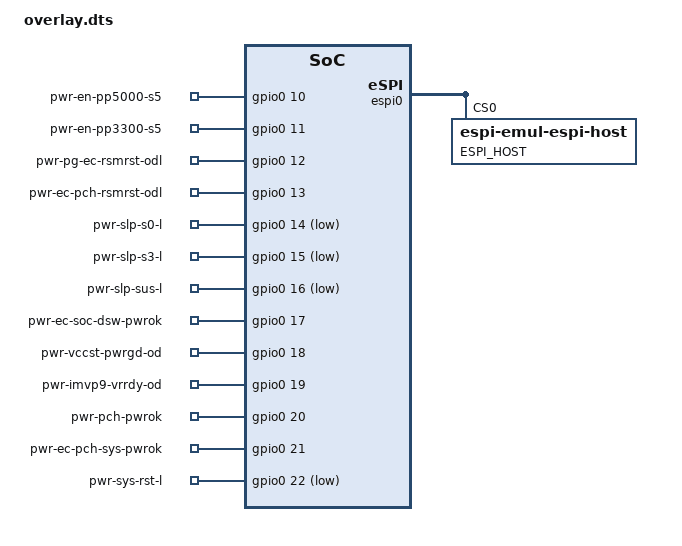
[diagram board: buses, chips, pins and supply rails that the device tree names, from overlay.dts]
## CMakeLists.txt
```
# Copyright 2021 The ChromiumOS Authors
# Use of this source code is governed by a BSD-style license that can be
# found in the LICENSE file.

cmake_minimum_required(VERSION 3.13.1)
find_package(Zephyr REQUIRED HINTS "${ZEPHYR_BASE}")
project(ap_power)

add_subdirectory(${PLATFORM_EC}/zephyr/test/test_utils test_utils)

# Include the local test directory for shimmed_test_tasks.h
zephyr_include_directories("${CMAKE_CURRENT_SOURCE_DIR}")
zephyr_include_directories("${CMAKE_CURRENT_SOURCE_DIR}/include")

target_sources(app PRIVATE
  src/ap_pwrseq.c
  src/console_command.c
  src/events.c
  src/hibdelay.c
  src/hibernate.c
  src/host_command.c
  src/test_mocks.c
  src/main.c)

# Generic architecture tests
target_sources_ifdef(CONFIG_TEST_AP_POWER_ADL app PRIVATE
  src/boards/alderlake.c src/signals.c)

target_sources_ifdef(CONFIG_TEST_AP_POWER_MTL app PRIVATE
  src/boards/meteorlake.c)

target_sources_ifdef(CONFIG_X86_NON_DSX_PWRSEQ_CONSOLE app PRIVATE
  src/pwrseq_console.c)

# Project specific tests
target_sources_ifdef(CONFIG_TEST_AP_POWER_BROX app PRIVATE
  ${PLATFORM_EC_PROGRAM_DIR}/brox/src/board_power.c)

target_sources_ifdef(CONFIG_TEST_AP_POWER_ATRIARVP app PRIVATE
  ${PLATFORM_EC_PROGRAM_DIR}/atria/src/rvp_board_power.c
  src/boards/atriarvp.c)

target_sources_ifdef(CONFIG_TEST_AP_POWER_OCELOTRVP app PRIVATE
  ${PLATFORM_EC_PROGRAM_DIR}/ocelot/src/rvp_board_power.c
  src/boards/ocelotrvp.c)
```

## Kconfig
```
# Copyright 2022 The ChromiumOS Authors
# Use of this source code is governed by a BSD-style license that can be
# found in the LICENSE file.

config TEST_AP_POWER_ADL
	bool "AP power sequence tests for Alderlake"
	help
	  Run the AP power sequence tests for the Alderlake chipset.
	  This is a generic Alderlake implementation that doesn't
	  match a particular board.

config TEST_AP_POWER_MTL
	bool "AP power sequence tests for Meteorlake"
	help
	  Run the AP power sequence tests for the Meteorlake chipset.
	  This is a generic Meteorlake implementation that doesn't
	  match a particular board.

config TEST_AP_POWER_ATRIARVP
	bool "AP Power sequence tests for Atria RVP project"
	help
	  Run the AP power sequence tests using the Atria RVP devicetree
	  configuration and the Atria RVP project specific source files.

config TEST_AP_POWER_BROX
	bool "AP Power sequence tests for Brox project"
	help
	  Run the AP power sequence tests using the Brox devicetree
	  configuration and the Brox project specific source files.

config TEST_AP_POWER_OCELOTRVP
	bool "AP Power sequence tests for Ocelot RVP project"
	help
	  Run the AP power sequence tests using the Ocelot RVP devicetree
	  configuration and the Ocelot RVP project specific source files.

config TEST_AP_POWER_RECOVERY_MODE
	bool "AP power sequencing tests for recovery boot"
	help
	  Run AP power sequencing tests, but boot into recovery mode and verify
	  functionality of the CSE early recovery GPIO driver.

source "Kconfig.zephyr"
```

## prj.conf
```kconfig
# Copyright 2022 The ChromiumOS Authors
# Use of this source code is governed by a BSD-style license that can be
# found in the LICENSE file.

CONFIG_ZTEST=y
CONFIG_ZTEST_ASSERT_VERBOSE=1
CONFIG_ZTEST_MOCKING=y
CONFIG_ZTEST_PARAMETER_COUNT=24
CONFIG_TEST=y
CONFIG_ASSERT=y

# Print logs from Zephyr LOG_MODULE to stdout
CONFIG_UART_NATIVE_PTY_0_ON_STDINOUT=y

# Simulate 10 ticks per ms
CONFIG_SYS_CLOCK_TICKS_PER_SEC=10000
CONFIG_TASKS_SET_TEST_RUNNER_TID_RULE=y

# Enable exception stack traces for better errors
CONFIG_EXCEPTION_STACK_TRACE=y

# Enable debugging features
CONFIG_DEBUG=y
CONFIG_X86_DEBUG_INFO=y
CONFIG_DEBUG_OPTIMIZATIONS=y
CONFIG_PLATFORM_EC_CONSOLE_DEBUG=y
CONFIG_SHELL_BACKEND_DUMMY=y
CONFIG_SHELL_BACKEND_SERIAL=n
# We aren't using the serial console, but there is still a lot of code that
# assumes that a serial port exists.
CONFIG_SERIAL=y

CONFIG_PLATFORM_EC=y
CONFIG_CROS_EC=y
CONFIG_SHIMMED_TASKS=y
CONFIG_EMUL=y
CONFIG_GPIO=y
CONFIG_HEAP_MEM_POOL_SIZE=1024

CONFIG_AP_PWRSEQ_STACK_SIZE=1024

CONFIG_ESPI=y
CONFIG_EMUL_ESPI_HOST=y
CONFIG_ESPI_PERIPHERAL_ACPI_SHM_REGION=y
CONFIG_ESPI_PERIPHERAL_CUSTOM_OPCODE=y
CONFIG_ESPI_PERIPHERAL_EC_HOST_CMD=y
CONFIG_PLATFORM_EC_HOSTCMD=y
CONFIG_PLATFORM_EC_CHIPSET_RESET_HOOK=y

# Short delay for hibernate
CONFIG_PLATFORM_EC_HIBERNATE_DELAY_SEC=20

# These items are not required.
CONFIG_PLATFORM_EC_BACKLIGHT_LID=n
CONFIG_PLATFORM_EC_SWITCH=n
CONFIG_PLATFORM_EC_VBOOT_HASH=n

CONFIG_PLATFORM_EC_LID_SWITCH=y
CONFIG_PLATFORM_EC_POWER_BUTTON=y
CONFIG_PLATFORM_EC_HOST_INTERFACE_ESPI=y
```

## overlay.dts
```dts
/* Copyright 2022 The Chromium OS Authors. All rights reserved.
 * Use of this source code is governed by a BSD-style license that can be
 * found in the LICENSE file.
 */

#include <cros/binman.dtsi>
#include <dt-bindings/gpio_defines.h>
#include <freq.h>

/ {
	chosen {
		cros-ec,espi = &espi0;
		intel-ap-pwrseq,espi = &espi0;
	};

	/*
	 * Keep these GPIOs in pin order.
	 * If you need to add one, make sure you increase
	 * ngpios in the gpio0 node further down.
	 */
	named-gpios {
		compatible = "named-gpios";

		gpio_ec_pwr_btn_odl: ec_pwr_btn_odl {
			/* GPIO_PULL_UP will cause this start asserted,
			 * i.e. not pressed.
			 */
			gpios = <&gpio0 1 (GPIO_INPUT | GPIO_PULL_UP)>;
			enum-name = "GPIO_POWER_BUTTON_L";
		};
		gpio_pch_pwrbtn_l: pch_pwrbtn_l {
			gpios = <&gpio0 2 GPIO_OUTPUT>;
			enum-name = "GPIO_PCH_PWRBTN_L";
		};
		gpio_ec_pch_wake_odl: ec_pch_wake_odl {
			gpios = <&gpio0 3 GPIO_OUTPUT_HIGH>;
		};
		gpio_lid_open_ec: lid_open_ec {
			/* GPIO_PULL_UP will cause this start asserted. */
			gpios = <&gpio0 4 (GPIO_INPUT | GPIO_PULL_UP)>;
			enum-name = "GPIO_LID_OPEN";
		};
	};
	gpio-interrupts {
		compatible = "cros-ec,gpio-interrupts";

		int_lid_open_ec: lid_open_ec {
			irq-pin = <&gpio_lid_open_ec>;
			flags = <GPIO_INT_EDGE_BOTH>;
			handler = "lid_interrupt";
		};
	};

	common-pwrseq {
		compatible = "intel,ap-pwrseq";
	};

	pwr-en-pp5000-s5 {
		compatible = "intel,ap-pwrseq-gpio";
		dbg-label = "PP5000_S5 enable output to regulator";
		enum-name = "PWR_EN_PP5000_A";
		gpios = <&gpio0 10 0>;
		output;
	};
	pwr-en-pp3300-s5 {
		compatible = "intel,ap-pwrseq-gpio";
		dbg-label = "PP3300_S5 enable output to LS";
		enum-name = "PWR_EN_PP3300_A";
		gpios = <&gpio0 11 0>;
		output;
	};
	pwr-pg-ec-rsmrst-odl {
		compatible = "intel,ap-pwrseq-gpio";
		dbg-label = "RSMRST power good from regulator";
		enum-name = "PWR_RSMRST";
		gpios = <&gpio0 12 0>;
		interrupt-flags = <GPIO_INT_EDGE_BOTH>;
	};
	pwr-ec-pch-rsmrst-odl {
		compatible = "intel,ap-pwrseq-gpio";
		dbg-label = "RSMRST output to PCH";
		enum-name = "PWR_EC_PCH_RSMRST";
		gpios = <&gpio0 13 0>;
		output;
	};
	pwr-slp-s0-l {
		compatible = "intel,ap-pwrseq-gpio";
		dbg-label = "SLP_S0_L input from PCH";
		enum-name = "PWR_SLP_S0";
		gpios = <&gpio0 14 GPIO_ACTIVE_LOW>;
		interrupt-flags = <GPIO_INT_EDGE_BOTH>;
		no-enable;
	};
	pwr-slp-s3-l {
		compatible = "intel,ap-pwrseq-gpio";
		dbg-label = "SLP_S3_L input from PCH";
		enum-name = "PWR_SLP_S3";
		gpios = <&gpio0 15 GPIO_ACTIVE_LOW>;
		interrupt-flags = <GPIO_INT_EDGE_BOTH>;
	};
	pwr-slp-sus-l {
		compatible = "intel,ap-pwrseq-gpio";
		dbg-label = "SLP_SUS_L input from PCH";
		enum-name = "PWR_SLP_SUS";
		gpios = <&gpio0 16 GPIO_ACTIVE_LOW>;
		interrupt-flags = <GPIO_INT_EDGE_BOTH>;
	};
	pwr-ec-soc-dsw-pwrok {
		compatible = "intel,ap-pwrseq-gpio";
		dbg-label = "DSW_PWROK output to PCH";
		enum-name = "PWR_EC_SOC_DSW_PWROK";
		gpios = <&gpio0 17 0>;
		output;
	};
	pwr-vccst-pwrgd-od {
		compatible = "intel,ap-pwrseq-gpio";
		dbg-label = "VCCST_PWRGD output to PCH";
		enum-name = "PWR_VCCST_PWRGD";
		gpios = <&gpio0 18 0>;
		output;
	};
	pwr-imvp9-vrrdy-od {
		compatible = "intel,ap-pwrseq-gpio";
		dbg-label = "VRRDY input from IMVP9";
		enum-name = "PWR_IMVP9_VRRDY";
		gpios = <&gpio0 19 0>;
	};
	pwr-pch-pwrok {
		compatible = "intel,ap-pwrseq-gpio";
		dbg-label = "PCH_PWROK output to PCH";
		enum-name = "PWR_PCH_PWROK";
		gpios = <&gpio0 20 0>;
		output;
	};
	pwr-ec-pch-sys-pwrok {
		compatible = "intel,ap-pwrseq-gpio";
		dbg-label = "SYS_PWROK output to PCH";
		enum-name = "PWR_EC_PCH_SYS_PWROK";
		gpios = <&gpio0 21 0>;
		output;
	};
	pwr-sys-rst-l {
		compatible = "intel,ap-pwrseq-gpio";
		dbg-label = "SYS_RESET# output to PCH";
		enum-name = "PWR_SYS_RST";
		gpios = <&gpio0 22 GPIO_ACTIVE_LOW>;
		output;
	};
	pwr-slp-s4 {
		compatible = "intel,ap-pwrseq-vw";
		dbg-label = "SLP_S4 virtual wire input from PCH";
		enum-name = "PWR_SLP_S4";
		virtual-wire = "ESPI_VWIRE_SIGNAL_SLP_S4";
		vw-invert;
	};
	pwr-slp-s5 {
		compatible = "intel,ap-pwrseq-vw";
		dbg-label = "SLP_S5 virtual wire input from PCH";
		enum-name = "PWR_SLP_S5";
		virtual-wire = "ESPI_VWIRE_SIGNAL_SLP_S5";
		vw-invert;
	};
	pwr-all-sys-pwrgd {
		compatible = "intel,ap-pwrseq-external";
		dbg-label = "Combined all power good";
		enum-name = "PWR_ALL_SYS_PWRGD";
	};
	pwr-pp3300-pwrok {
		compatible = "intel,ap-pwrseq-external";
		dbg-label = "PP3300 PWROK";
		enum-name = "PWR_DSW_PWROK";
	};
	pwr-pp1p05-pwrok {
		compatible = "intel,ap-pwrseq-external";
		dbg-label = "PP1P05 PWROK";
		enum-name = "PWR_PG_PP1P05";
	};

	clock: clock {
		compatible = "cros,clock-control-emul";
		clock-frequency = <DT_FREQ_M(100)>; /* 100 MHz */
	};
};

&espi0 {
	espi-host@0 {
		status = "okay";
		compatible = "zephyr,espi-emul-espi-host";
		reg = <0x0>;
		label = "ESPI_HOST";
	};
};

&gpio0 {
	ngpios = <23>;
};
```

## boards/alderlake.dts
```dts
/* Copyright 2022 The ChromiumOS Authors
 * Use of this source code is governed by a BSD-style license that can be
 * found in the LICENSE file.
 */

#include <dt-bindings/gpio_defines.h>
#include "alderlake_emul.dtsi"

/ {
	common-pwrseq {
		compatible = "intel,ap-pwrseq";
		s5-inactivity-timeout = <1>;
		all-sys-pwrgd-timeout = <50>;
	};

	en_pp5000: pwr-en-pp5000-s5 {
		compatible = "intel,ap-pwrseq-gpio";
		dbg-label = "PP5000_S5 enable output to regulator";
		enum-name = "PWR_EN_PP5000_A";
		gpios = <&gpio0 10 0>;
		output;
	};
	en_pp3300: pwr-en-pp3300-s5 {
		compatible = "intel,ap-pwrseq-gpio";
		dbg-label = "PP3300_S5 enable output to LS";
		enum-name = "PWR_EN_PP3300_A";
		gpios = <&gpio0 11 0>;
		output;
	};
	rsmrst: pwr-pg-ec-rsmrst-odl {
		compatible = "intel,ap-pwrseq-gpio";
		dbg-label = "RSMRST power good from regulator";
		enum-name = "PWR_RSMRST_PWRGD";
		gpios = <&gpio0 12 0>;
		interrupt-flags = <GPIO_INT_EDGE_BOTH>;
	};
	ec_pch_rsmrst: pwr-ec-pch-rsmrst-odl {
		compatible = "intel,ap-pwrseq-gpio";
		dbg-label = "RSMRST output to PCH";
		enum-name = "PWR_EC_PCH_RSMRST";
		gpios = <&gpio0 13 GPIO_ACTIVE_LOW>;
		reset-val = <1>;
		output;
	};
	slp_s0: pwr-slp-s0-l {
		compatible = "intel,ap-pwrseq-gpio";
		dbg-label = "SLP_S0_L input from PCH";
		enum-name = "PWR_SLP_S0";
		gpios = <&gpio0 14 GPIO_ACTIVE_LOW>;
		interrupt-flags = <GPIO_INT_EDGE_BOTH>;
		no-enable;
	};
	slp_s3: pwr-slp-s3-l {
		compatible = "intel,ap-pwrseq-gpio";
		dbg-label = "SLP_S3_L input from PCH";
		enum-name = "PWR_SLP_S3";
		gpios = <&gpio0 15 GPIO_ACTIVE_LOW>;
		interrupt-flags = <GPIO_INT_EDGE_BOTH>;
	};
	slp_sus: pwr-slp-sus-l {
		compatible = "intel,ap-pwrseq-gpio";
		dbg-label = "SLP_SUS_L input from PCH";
		enum-name = "PWR_SLP_SUS";
		gpios = <&gpio0 16 GPIO_ACTIVE_LOW>;
		interrupt-flags = <GPIO_INT_EDGE_BOTH>;
	};
	ec_soc_dsw_pwrok: pwr-ec-soc-dsw-pwrok {
		compatible = "intel,ap-pwrseq-gpio";
		dbg-label = "DSW_PWROK output to PCH";
		enum-name = "PWR_EC_SOC_DSW_PWROK";
		gpios = <&gpio0 17 0>;
		output;
	};
	pwr-vccst-pwrgd-od {
		compatible = "intel,ap-pwrseq-gpio";
		dbg-label = "VCCST_PWRGD output to PCH";
		enum-name = "PWR_VCCST_PWRGD";
		gpios = <&gpio0 18 0>;
		output;
	};
	pwr-imvp9-vrrdy-od {
		compatible = "intel,ap-pwrseq-gpio";
		dbg-label = "VRRDY input from IMVP9";
		enum-name = "PWR_IMVP9_VRRDY";
		gpios = <&gpio0 19 0>;
	};
	pch_pwrok: pwr-pch-pwrok {
		compatible = "intel,ap-pwrseq-gpio";
		dbg-label = "PCH_PWROK output to PCH";
		enum-name = "PWR_PCH_PWROK";
		gpios = <&gpio0 20 0>;
		output;
	};
	pwr-ec-pch-sys-pwrok {
		compatible = "intel,ap-pwrseq-gpio";
		dbg-label = "SYS_PWROK output to PCH";
		enum-name = "PWR_EC_PCH_SYS_PWROK";
		gpios = <&gpio0 21 0>;
		output;
	};
	pwr-sys-rst-l {
		compatible = "intel,ap-pwrseq-gpio";
		dbg-label = "SYS_RESET# output to PCH";
		enum-name = "PWR_SYS_RST";
		gpios = <&gpio0 22 GPIO_ACTIVE_LOW>;
		output;
	};
	slp_s4: pwr-slp-s4 {
		compatible = "intel,ap-pwrseq-vw";
		dbg-label = "SLP_S4 virtual wire input from PCH";
		enum-name = "PWR_SLP_S4";
		virtual-wire = "ESPI_VWIRE_SIGNAL_SLP_S4";
		vw-invert;
	};
	slp_s5: pwr-slp-s5 {
		compatible = "intel,ap-pwrseq-vw";
		dbg-label = "SLP_S5 virtual wire input from PCH";
		enum-name = "PWR_SLP_S5";
		virtual-wire = "ESPI_VWIRE_SIGNAL_SLP_S5";
		vw-invert;
	};
	all_sys_pwrgd: pwr-all-sys-pwrgd {
		compatible = "intel,ap-pwrseq-external";
		dbg-label = "Combined all power good";
		enum-name = "PWR_ALL_SYS_PWRGD";
	};
	dsw_pwrok: pwr-pp3300-pwrok {
		compatible = "intel,ap-pwrseq-external";
		dbg-label = "PP3300 PWROK";
		enum-name = "PWR_DSW_PWROK";
	};

	adc0: adc {
		compatible = "zephyr,adc-emul";
		nchannels = <6>;
		ref-internal-mv = <3300>;
		#io-channel-cells = <1>;
		status = "okay";
	};
	mock_cmp_high: mock-cmp-high {
		compatible = "cros,vcmp-mock";
		threshold-mv = <50>;
		io-channels = <&adc0 0>;
	};
	mock_cmp_low: mock-cmp-low {
		compatible = "cros,vcmp-mock";
		threshold-mv = <100>;
		io-channels = <&adc0 1>;
	};
	pwr-pp1p05-pwrok {
		compatible = "intel,ap-pwrseq-adc";
		dbg-label = "PP1P05 PWROK (from ADC)";
		enum-name = "PWR_PG_PP1P05";
		trigger-high = <&mock_cmp_high>;
		trigger-low = <&mock_cmp_low>;
	};
};
```

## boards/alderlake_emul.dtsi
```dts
/* Copyright 2022 The ChromiumOS Authors
 * Use of this source code is governed by a BSD-style license that can be
 * found in the LICENSE file.
 */

/ {
	en_pp3300_emul: en-pp3300-emul {
		compatible = "intel,ap-pwr-signal-emul";
		input-signal = <&en_pp3300>;
		init-value = <0>;
		pp3300-dsw-pwrok-emul {
			output-signal = <&dsw_pwrok>;
			assert-delay-ms = <10>;
			init-value= <0>;
		};
	};

	en_pp5000_emul: en-pp5000-emul {
		compatible = "intel,ap-pwr-signal-emul";
		input-signal = <&en_pp5000>;
		init-value = <0>;
		pp5000-rsmrst-emul {
			output-signal = <&rsmrst>;
			assert-delay-ms = <40>;
			init-value= <0>;
		};
	};

	ec_soc_dsw_pwrok_emul: ec-soc-dsw-pwrok-emul {
		compatible = "intel,ap-pwr-signal-emul";
		input-signal = <&ec_soc_dsw_pwrok>;
		init-value = <0>;
		ec-dsw-pwrok-slp-sus-emul {
			output-signal = <&slp_sus>;
			assert-delay-ms = <95>;
			init-value= <1>;
			invert-value;
		};
	};

	ec_pch_rsmrst_emul: ec-pch-rsmrst-emul {
		compatible = "intel,ap-pwr-signal-emul";
		input-signal = <&ec_pch_rsmrst>;
		init-value = <1>;
		ec-pch-rsmrst-slp-s5-emul {
			output-signal = <&slp_s5>;
			deassert-delay-ms = <20>;
			init-value= <1>;
		};
		ec-pch-rsmrst-slp-s4-emul {
			output-signal = <&slp_s4>;
			deassert-delay-ms = <30>;
			init-value= <1>;
		};
		ec-pch-rsmrst-slp-s3-emul {
			output-signal = <&slp_s3>;
			deassert-delay-ms = <40>;
			init-value= <1>;
		};
		ec-pch-rsmrst-slp-s0-emul {
			output-signal = <&slp_s0>;
			deassert-delay-ms = <45>;
			init-value= <1>;
		};
		ec-pch-rsmrst-all-sys-pwrgd {
			output-signal = <&all_sys_pwrgd>;
			deassert-delay-ms = <50>;
			init-value= <0>;
			invert-value;
		};
	};

	tp-sys-g3-to-s0 {
		compatible = "intel,ap-pwr-test-platform";
		nodes = <&en_pp3300_emul &en_pp5000_emul
			      &ec_soc_dsw_pwrok_emul &ec_pch_rsmrst_emul>;
	};

	pch_pwrok_power_fail_emul: pch-pwrok-power-fail-emul {
		compatible = "intel,ap-pwr-signal-emul";
		input-signal = <&pch_pwrok>;
		init-value = <0>;
		pch-pwrok-dsw-pwrok-emul {
			output-signal = <&dsw_pwrok>;
			assert-delay-ms = <50>;
			invert-value;
		};
		pch-pwrok-slp-sus-emul {
			output-signal = <&slp_sus>;
			assert-delay-ms = <60>;
		};
	};

	tp-sys-s0-power-fail {
		compatible = "intel,ap-pwr-test-platform";
		nodes = <&pch_pwrok_power_fail_emul>;
	};

	pch_pwrok_power_down_emul: pch-pwrok-power-down-emul {
		compatible = "intel,ap-pwr-signal-emul";
		input-signal = <&pch_pwrok>;
		init-value = <0>;
		edge = "EDGE_ACTIVE_ON_ASSERT";
		pch-pwrok-slp-sus-emul {
			output-signal = <&slp_sus>;
			assert-delay-ms = <70>;
		};

		pch_pwrok-rsmrst-emul {
			output-signal = <&rsmrst>;
			assert-delay-ms = <60>;
		};

		pch-pwrok-slp-s5-emul {
			output-signal = <&slp_s5>;
			assert-delay-ms = <50>;
		};

		pch-pwrok-slp-s4-emul {
			output-signal = <&slp_s4>;
			assert-delay-ms = <30>;
		};

		pch-pwrok-slp-s3-emul {
			output-signal = <&slp_s3>;
			assert-delay-ms = <20>;
		};

		pch-pwrok-slp-s0-emul {
			output-signal = <&slp_s0>;
			assert-delay-ms = <15>;
		};
	};

	tp-sys-g3-to-s0-power-down {
		compatible = "intel,ap-pwr-test-platform";
		nodes = <&en_pp3300_emul &en_pp5000_emul
			      &ec_soc_dsw_pwrok_emul &ec_pch_rsmrst_emul
			      &pch_pwrok_power_down_emul>;
	};

	tp-sys-s5-slp-sus-fail {
		compatible = "intel,ap-pwr-test-platform";
		nodes = <&en_pp3300_emul>;
	};

	ec_pch_rsmrst_s4_dsw_pwrok_fail_emul:
			ec-pch-rsmrst-s4-dsw-pwrok-fail-emul {
		compatible = "intel,ap-pwr-signal-emul";
		input-signal = <&ec_pch_rsmrst>;
		init-value = <1>;
		ec-pch-rsmrst-slp-s5-emul {
			output-signal = <&slp_s5>;
			deassert-delay-ms = <20>;
			init-value= <1>;
		};
		ec-pch-rsmrst-slp-s4-emul {
			output-signal = <&slp_s4>;
			deassert-delay-ms = <30>;
			init-value= <1>;
		};
		pch-pwrok-dsw-pwrok-emul {
			output-signal = <&dsw_pwrok>;
			deassert-delay-ms = <50>;
		};
	};

	tp-sys-s4-dsw-pwrok-fail {
		compatible = "intel,ap-pwr-test-platform";
		nodes = <&en_pp3300_emul &en_pp5000_emul &ec_soc_dsw_pwrok_emul
			     &ec_pch_rsmrst_s4_dsw_pwrok_fail_emul>;
	};

	ec_pch_rsmrst_s3_dsw_pwrok_fail_emul:
			ec-pch-rsmrst-s3-dsw-pwrok-fail-emul {
		compatible = "intel,ap-pwr-signal-emul";
		input-signal = <&ec_pch_rsmrst>;
		init-value = <1>;
		edge = "EDGE_ACTIVE_ON_DEASSERT";
		ec-pch-rsmrst-slp-s5-emul {
			output-signal = <&slp_s5>;
			deassert-delay-ms = <20>;
			init-value= <1>;
		};
		ec-pch-rsmrst-slp-s4-emul {
			output-signal = <&slp_s4>;
			deassert-delay-ms = <30>;
			init-value= <1>;
		};
		ec-pch-rsmrst-slp-s3-emul {
			output-signal = <&slp_s3>;
			deassert-delay-ms = <30>;
			init-value= <1>;
		};
		pch-pwrok-dsw-pwrok-emul {
			output-signal = <&dsw_pwrok>;
			deassert-delay-ms = <50>;
		};
	};

	tp-sys-s3-dsw-pwrok-fail {
		compatible = "intel,ap-pwr-test-platform";
		nodes = <&en_pp3300_emul &en_pp5000_emul &ec_soc_dsw_pwrok_emul
			     &ec_pch_rsmrst_s3_dsw_pwrok_fail_emul>;
	};

	ec_pch_rsmrst_s3_rsmrst_deassert_emul:
		ec-pch-rsmrst-s3-rsmrst-deassert-emul {
		compatible = "intel,ap-pwr-signal-emul";
		input-signal = <&ec_pch_rsmrst>;
		init-value = <1>;
		edge = "EDGE_ACTIVE_ON_DEASSERT";
		ec-pch-rsmrst-slp-s5-emul {
			output-signal = <&slp_s5>;
			deassert-delay-ms = <20>;
			init-value= <1>;
		};
		ec-pch-rsmrst-slp-s4-emul {
			output-signal = <&slp_s4>;
			deassert-delay-ms = <30>;
			init-value= <1>;
		};
		ec-pch-rsmrst-slp-s3-emul {
			output-signal = <&slp_s3>;
			deassert-delay-ms = <40>;
			init-value= <1>;
		};
		ec-pch-rsmrst-slp-s3-deassert-emul {
			output-signal = <&slp_s3>;
			deassert-delay-ms = <60>;
			invert-value;
		};
		pch_pch-rsmrst-rsmrst-deassert-emul {
			output-signal = <&rsmrst>;
			deassert-delay-ms = <100>;
		};
	};

	tp-sys-s3-rsmrst-fail {
		compatible = "intel,ap-pwr-test-platform";
		nodes = <&en_pp3300_emul &en_pp5000_emul &ec_soc_dsw_pwrok_emul
			     &ec_pch_rsmrst_s3_rsmrst_deassert_emul>;
	};

	pch_sleep: pch-sleep {
		compatible = "intel,ap-pwr-signal-emul";
		input-signal = <&pch_pwrok>;

		slp-s0-suspend-emul {
			output-signal = <&slp_s0>;
			init-value=<1>;
		};
	};

	tp-sys-sleep {
		compatible = "intel,ap-pwr-test-platform";
		nodes = <&pch_sleep>;
	};

	pch_wake: pch-wake {
		compatible = "intel,ap-pwr-signal-emul";
		input-signal = <&pch_pwrok>;

		slp-s0-resume-emul {
			output-signal = <&slp_s0>;
			init-value=<0>;
		};
	};

	tp-sys-wake {
		compatible = "intel,ap-pwr-test-platform";
		nodes = <&pch_wake>;
	};

};
```

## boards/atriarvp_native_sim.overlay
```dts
/* Copyright 2026 The ChromiumOS Authors
 * Use of this source code is governed by a BSD-style license that can be
 * found in the LICENSE file.
 */

#include <board-overlays/native_sim.dts>
#include <dt-bindings/gpio_defines.h>
#include "../../../program/atria/power_signals.dtsi"

/ {
	common-pwrseq {
		s5-inactivity-timeout = <1>;
		sys-pwrok-delay = <10>;
		all-sys-pwrgd-timeout = <20>;
	};

	/* Add label to VW SLP_S5 node so emulators can reference it */
	slp_s5: pwr-slp-s5 {
	};

	en_pp3300_emul: en-pp3300-emul {
		compatible = "intel,ap-pwr-signal-emul";
		input-signal = <&pwr_en_pp3300_a>;
		init-value = <0>;
		pp3300-rsmrst-emul {
			output-signal = <&pwr_rsmrst_pwrgd>;
			assert-delay-ms = <10>;
			init-value = <0>;
		};
	};

	ec_pch_rsmrst_emul: ec-pch-rsmrst-emul {
		compatible = "intel,ap-pwr-signal-emul";
		input-signal = <&pwr_ec_pch_rsmrst>;
		init-value = <1>;
		ec-pch-rsmrst-slp-s5-emul {
			output-signal = <&slp_s5>;
			deassert-delay-ms = <20>;
			init-value = <1>;
		};
		ec-pch-rsmrst-slp-s4-emul {
			output-signal = <&pwr_slp_s4>;
			deassert-delay-ms = <30>;
			init-value = <1>;
		};
		ec-pch-rsmrst-slp-s3-emul {
			output-signal = <&pwr_slp_s3>;
			deassert-delay-ms = <40>;
			init-value = <1>;
		};
		ec-pch-rsmrst-slp-s0-emul {
			output-signal = <&pwr_slp_s0>;
			deassert-delay-ms = <45>;
			init-value = <1>;
		};
		ec-pch-rsmrst-all-sys-pwrgd {
			output-signal = <&pwr_all_sys_pwrgd>;
			deassert-delay-ms = <50>;
			init-value = <0>;
			invert-value;
		};
	};

	ec_pch_rsmrst_rst_emul: ec-pch-rsmrst-rst-emul {
		compatible = "intel,ap-pwr-signal-emul";
		input-signal = <&pwr_ec_pch_rsmrst>;
		init-value = <1>;
		ec-pch-rsmrst-slp-s5-emul {
			output-signal = <&slp_s5>;
			deassert-delay-ms = <20>;
			init-value = <1>;
		};
		ec-pch-rsmrst-slp-s4-emul {
			output-signal = <&pwr_slp_s4>;
			deassert-delay-ms = <30>;
			init-value = <1>;
		};
		ec-pch-rsmrst-slp-s3-emul {
			output-signal = <&pwr_slp_s3>;
			deassert-delay-ms = <40>;
			init-value = <1>;
		};
		ec-pch-rsmrst-all-sys-pwrgd {
			output-signal = <&pwr_all_sys_pwrgd>;
			deassert-delay-ms = <50>;
			init-value = <0>;
			invert-value;
		};
		ec-pch-rsmrst-slp-s0-emul {
			output-signal = <&pwr_slp_s0>;
			assert-delay-ms = <150>;
			init-value = <0>;
			invert-value;
		};
	};

	tp-sys-g3-to-s0 {
		compatible = "intel,ap-pwr-test-platform";
		nodes = <&en_pp3300_emul &ec_pch_rsmrst_emul>;
	};

	pch_pwrok_power_fail_emul: pch-pwrok-power-fail-emul {
		compatible = "intel,ap-pwr-signal-emul";
		input-signal = <&pwr_pch_pwrok>;
		init-value = <0>;
		edge = "EDGE_ACTIVE_ON_ASSERT";
		pch-pwrok-rsmrst-emul {
			output-signal = <&pwr_rsmrst_pwrgd>;
			assert-delay-ms = <60>;
			invert-value;
		};
	};

	tp-sys-s0-power-fail {
		compatible = "intel,ap-pwr-test-platform";
		nodes = <&pch_pwrok_power_fail_emul>;
	};

	pch_pwrok_power_down_emul: pch-pwrok-power-down-emul {
		compatible = "intel,ap-pwr-signal-emul";
		input-signal = <&pwr_pch_pwrok>;
		init-value = <0>;
		edge = "EDGE_ACTIVE_ON_ASSERT";
		pch-pwrok-rsmrst-emul {
			output-signal = <&pwr_rsmrst_pwrgd>;
			assert-delay-ms = <90>;
		};
		pch-pwrok-slp-s5-emul {
			output-signal = <&slp_s5>;
			assert-delay-ms = <60>;
		};
		pch-pwrok-slp-s4-emul {
			output-signal = <&pwr_slp_s4>;
			assert-delay-ms = <40>;
		};
		pch-pwrok-slp-s3-emul {
			output-signal = <&pwr_slp_s3>;
			assert-delay-ms = <20>;
		};
		pch-pwrok-slp-s0-emul {
			output-signal = <&pwr_slp_s0>;
			assert-delay-ms = <15>;
		};
	};

	tp-sys-g3-to-s0-power-down {
		compatible = "intel,ap-pwr-test-platform";
		nodes = <&en_pp3300_emul &ec_pch_rsmrst_emul
			      &pch_pwrok_power_down_emul>;
	};

	ec_pch_rsmrst_s3_rsmrst_deassert_emul:
		ec-pch-rsmrst-s3-rsmrst-deassert-emul {
		compatible = "intel,ap-pwr-signal-emul";
		input-signal = <&pwr_ec_pch_rsmrst>;
		init-value = <1>;
		edge = "EDGE_ACTIVE_ON_DEASSERT";
		ec-pch-rsmrst-slp-s5-emul {
			output-signal = <&slp_s5>;
			deassert-delay-ms = <20>;
			init-value = <1>;
		};
		ec-pch-rsmrst-slp-s4-emul {
			output-signal = <&pwr_slp_s4>;
			deassert-delay-ms = <30>;
			init-value = <1>;
		};
		ec-pch-rsmrst-slp-s3-emul {
			output-signal = <&pwr_slp_s3>;
			deassert-delay-ms = <40>;
			init-value = <1>;
		};
		ec-pch-rsmrst-slp-s3-deassert-emul {
			output-signal = <&pwr_slp_s3>;
			deassert-delay-ms = <60>;
			invert-value;
		};
		pch-pch-rsmrst-rsmrst-deassert-emul {
			output-signal = <&pwr_rsmrst_pwrgd>;
			deassert-delay-ms = <100>;
		};
	};

	tp-sys-s3-rsmrst-fail {
		compatible = "intel,ap-pwr-test-platform";
		nodes = <&en_pp3300_emul
			      &ec_pch_rsmrst_s3_rsmrst_deassert_emul>;
	};

	sys_rst_slp_s0_emul: sys-rst-slp-s0-emul {
		compatible = "intel,ap-pwr-signal-emul";
		input-signal = <&pwr_sys_rst>;
		init-value = <0>;
		edge = "EDGE_ACTIVE_ON_ASSERT";
		sys-rst-slp-s0-emul {
			output-signal = <&pwr_slp_s0>;
			deassert-delay-ms = <1>;
		};
		sys-rst-rsmrst-emul {
			output-signal = <&pwr_rsmrst_pwrgd>;
			assert-delay-ms = <100>;
			invert-value;
		};
	};

	tp-sys-g3-to-sleep-reset-then-power-fail {
		compatible = "intel,ap-pwr-test-platform";
		nodes = <&en_pp3300_emul &ec_pch_rsmrst_rst_emul
			      &sys_rst_slp_s0_emul>;
	};

	pch_sleep: pch-sleep {
		compatible = "intel,ap-pwr-signal-emul";
		input-signal = <&pwr_pch_pwrok>;
		slp-s0-suspend-emul {
			output-signal = <&pwr_slp_s0>;
			init-value = <1>;
		};
	};

	tp-sys-sleep {
		compatible = "intel,ap-pwr-test-platform";
		nodes = <&pch_sleep>;
	};

	pch_wake: pch-wake {
		compatible = "intel,ap-pwr-signal-emul";
		input-signal = <&pwr_pch_pwrok>;
		slp-s0-resume-emul {
			output-signal = <&pwr_slp_s0>;
			init-value = <0>;
		};
	};

	tp-sys-wake {
		compatible = "intel,ap-pwr-test-platform";
		nodes = <&pch_wake>;
	};
};

/* Assign GPIO pins to all power signals that need them.
 * Clear GPIO_OPEN_DRAIN on outputs since open drain is not
 * supported by the GPIO emulator.
 */
&pwr_en_pp3300_a {
	gpios = <&gpio0 6 0>;
};
&pwr_rsmrst_pwrgd {
	gpios = <&gpio0 7 0>;
};
&pwr_ec_pch_rsmrst {
	gpios = <&gpio0 8 GPIO_ACTIVE_LOW>;
};
&pwr_slp_s0 {
	gpios = <&gpio0 9 GPIO_ACTIVE_LOW>;
};
&pwr_slp_s3 {
	gpios = <&gpio0 10 GPIO_ACTIVE_LOW>;
};
&pwr_slp_s4 {
	gpios = <&gpio0 11 GPIO_ACTIVE_LOW>;
};
&pwr_all_sys_pwrgd {
	gpios = <&gpio0 12 0>;
};
&pwr_pch_pwrok {
	gpios = <&gpio0 13 0>;
};
&pwr_sys_rst {
	gpios = <&gpio0 14 GPIO_ACTIVE_LOW>;
};
```

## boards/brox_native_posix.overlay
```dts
/* Copyright 2023 The ChromiumOS Authors
 * Use of this source code is governed by a BSD-style license that can be
 * found in the LICENSE file.
 */

#include <board-overlays/native_posix.dts>
#include <dt-bindings/gpio_defines.h>
#include <it8xxx2_emul.dts>
#include "../../../program/brox/power_signals.dtsi"
#include "alderlake_emul.dtsi"

/ {
	/delete-node/ pwrseq-common;
	pwrseq-common {
		s5-inactivity-timeout = <1>;
		dsw-pwrok-delay = <13>;
		sys-pwrok-delay = <10>;
		all-sys-pwrgd-timeout = <20>;
	};

	/*
	 * Create nodelabels matching the common alderlake emulator.
	 * Also clear the GPIO_OPEN_DRAIN flags on any power signals
	 * because open drain operation is not supported by the GPIO
	 * emulator.
	 */

	en_pp3300: pwr-en-s5-rails {
	};
	pwr_pg_vccin_aux_od: pwr-pg-vccin-aux-od {
	};
	rsmrst: pwr-pg-vccin-aux-od {
	};
	ec_pch_rsmrst: pwr-ec-pch-rsmrst-odl {
	};
	slp_s0: pwr-slp-s0-l {
	};
	slp_s3: pwr-slp-s3-l {
	};
	slp_s4: pwr-slp-s4-l {
	};
	slp_s5: pwr-slp-s5-l {
	};
	slp_sus: pwr-slp-sus-l {
	};
	dsw_pwrok: pwr-dsw-pwrok {
	};
	ec_soc_dsw_pwrok: pwr-ec-soc-dsw-pwrok {
	};
	pwr-vccst-pwrgd-od {
		gpios = <&gpioh 4 0>;
	};
	pch_pwrok: pwr-pch-pwrok {
		gpios = <&gpiob 5 0>;
	};
	pwr-sys-rst-l {
		gpios = <&gpiog 0 GPIO_ACTIVE_LOW>;
	};
	all_sys_pwrgd: pwr-all-sys-pwrgd {
	};
	pwr_imvp9_vrrdy_od: pwr-imvp9-vrrdy-od {
	};

	/* TODO: add emulator to drive PWR_IMVP9_VRRDY */

	/*
	 * Brox doesn't have a PG signal for the PP3300/PP5000 rails.
	 * To simulate a power loss, just turn off the enable signal.
	 */
	/delete-node/ en-pp3300-emul;
	en_pp3300_emul: en-pp3300-emul {
		compatible = "intel,ap-pwr-signal-emul";
		input-signal = <&en_pp3300>;
		init-value = <0>;
		pg-vccin-aux-od-emul {
			output-signal = <&pwr_pg_vccin_aux_od>;
			assert-delay-ms = <10>;
			init-value= <0>;
		};
	};

	/* Stub node - not referenced once all the devictrees merged. */
	en_pp5000_emul: en-pp5000-emul {
		compatible = "intel,ap-pwr-signal-emul";
		input-signal = <&en_pp3300>;
		init-value = <0>;
		pp5000-rsmrst-emul {
			output-signal = <&rsmrst>;
			assert-delay-ms = <40>;
			init-value= <0>;
		};
	};
};

/* Assert IMVP9_VRRDY after all-sys-pwrgd */
&ec_pch_rsmrst_emul {
	all-sys-pwrgd-imvp9-vrrdy-emul {
		output-signal = <&pwr_imvp9_vrrdy_od>;
		assert-delay-ms = <51>;
		init-value= <0>;
		invert-value;
	};
};

/* DSW_PWROK is not used for brox, use SLP_SUS instead */
&ec_pch_rsmrst_s4_dsw_pwrok_fail_emul {
	pch-pwrok-dsw-pwrok-emul {
		output-signal = <&slp_sus>;
		deassert-delay-ms = <50>;
		invert-value;
	};
};

/* DSW_PWROK is not used for brox, use SLP_SUS instead */
&ec_pch_rsmrst_s3_dsw_pwrok_fail_emul {
	pch-pwrok-dsw-pwrok-emul {
		output-signal = <&slp_sus>;
		deassert-delay-ms = <31>;
		invert-value;
	};
};
```

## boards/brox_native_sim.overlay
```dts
/* Copyright 2023 The ChromiumOS Authors
 * Use of this source code is governed by a BSD-style license that can be
 * found in the LICENSE file.
 */

#include <board-overlays/native_sim.dts>
#include <dt-bindings/gpio_defines.h>
#include <it8xxx2_emul.dts>
#include "../../../program/brox/power_signals.dtsi"
#include "alderlake_emul.dtsi"

/ {
	/delete-node/ pwrseq-common;
	pwrseq-common {
		s5-inactivity-timeout = <1>;
		dsw-pwrok-delay = <13>;
		sys-pwrok-delay = <10>;
		all-sys-pwrgd-timeout = <20>;
	};

	/*
	 * Create nodelabels matching the common alderlake emulator.
	 * Also clear the GPIO_OPEN_DRAIN flags on any power signals
	 * because open drain operation is not supported by the GPIO
	 * emulator.
	 */

	en_pp3300: pwr-en-s5-rails {
	};
	pwr_pg_vccin_aux_od: pwr-pg-vccin-aux-od {
	};
	rsmrst: pwr-pg-vccin-aux-od {
	};
	ec_pch_rsmrst: pwr-ec-pch-rsmrst-odl {
	};
	slp_s0: pwr-slp-s0-l {
	};
	slp_s3: pwr-slp-s3-l {
	};
	slp_s4: pwr-slp-s4-l {
	};
	slp_s5: pwr-slp-s5-l {
	};
	slp_sus: pwr-slp-sus-l {
	};
	dsw_pwrok: pwr-dsw-pwrok {
	};
	ec_soc_dsw_pwrok: pwr-ec-soc-dsw-pwrok {
	};
	pwr-vccst-pwrgd-od {
		gpios = <&gpioh 4 0>;
	};
	pch_pwrok: pwr-pch-pwrok {
		gpios = <&gpiob 5 0>;
	};
	pwr-sys-rst-l {
		gpios = <&gpiog 0 GPIO_ACTIVE_LOW>;
	};
	all_sys_pwrgd: pwr-all-sys-pwrgd {
	};
	pwr_imvp9_vrrdy_od: pwr-imvp9-vrrdy-od {
	};

	/* TODO: add emulator to drive PWR_IMVP9_VRRDY */

	/*
	 * Brox doesn't have a PG signal for the PP3300/PP5000 rails.
	 * To simulate a power loss, just turn off the enable signal.
	 */
	/delete-node/ en-pp3300-emul;
	en_pp3300_emul: en-pp3300-emul {
		compatible = "intel,ap-pwr-signal-emul";
		input-signal = <&en_pp3300>;
		init-value = <0>;
		pg-vccin-aux-od-emul {
			output-signal = <&pwr_pg_vccin_aux_od>;
			assert-delay-ms = <10>;
			init-value= <0>;
		};
	};

	/* Stub node - not referenced once all the devictrees merged. */
	en_pp5000_emul: en-pp5000-emul {
		compatible = "intel,ap-pwr-signal-emul";
		input-signal = <&en_pp3300>;
		init-value = <0>;
		pp5000-rsmrst-emul {
			output-signal = <&rsmrst>;
			assert-delay-ms = <40>;
			init-value= <0>;
		};
	};
};

/* Assert IMVP9_VRRDY after all-sys-pwrgd */
&ec_pch_rsmrst_emul {
	all-sys-pwrgd-imvp9-vrrdy-emul {
		output-signal = <&pwr_imvp9_vrrdy_od>;
		assert-delay-ms = <51>;
		init-value= <0>;
		invert-value;
	};
};

/* DSW_PWROK is not used for brox, use SLP_SUS instead */
&ec_pch_rsmrst_s4_dsw_pwrok_fail_emul {
	pch-pwrok-dsw-pwrok-emul {
		output-signal = <&slp_sus>;
		deassert-delay-ms = <50>;
		invert-value;
	};
};

/* DSW_PWROK is not used for brox, use SLP_SUS instead */
&ec_pch_rsmrst_s3_dsw_pwrok_fail_emul {
	pch-pwrok-dsw-pwrok-emul {
		output-signal = <&slp_sus>;
		deassert-delay-ms = <31>;
		invert-value;
	};
};
```

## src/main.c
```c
/* Copyright 2022 The ChromiumOS Authors
 * Use of this source code is governed by a BSD-style license that can be
 * found in the LICENSE file.
 */

#include "ec_app_main.h"
#include "test_state.h"

#include <zephyr/kernel.h>
#include <zephyr/ztest.h>

bool ap_power_predicate_pre_main(const void *state)
{
	return ((struct test_state *)state)->ec_app_main_run == false;
}

bool ap_power_predicate_post_main(const void *state)
{
	return !ap_power_predicate_pre_main(state);
}

void test_main(void)
{
	struct test_state state = {
		.ec_app_main_run = false,
	};

	/* Run all the suites that depend on main not being called yet */
	ztest_run_test_suites(&state, false, 1, 1);

	ec_app_main();
	state.ec_app_main_run = true;

	/* Run all the suites that depend on main being called */
	ztest_run_test_suites(&state, false, 1, 1);

	/* Check that every suite ran */
	ztest_verify_all_test_suites_ran();
}
```

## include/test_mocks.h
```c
/* Copyright 2022 The ChromiumOS Authors
 * Use of this source code is governed by a BSD-style license that can be
 * found in the LICENSE file.
 */

#ifndef __TEST_AP_POWER_TEST_MOCKS_H
#define __TEST_AP_POWER_TEST_MOCKS_H

#include <stdint.h>

#include <zephyr/fff.h>

/*
 * Mock declarations
 */

/* Mocks for common/extpower_gpio.c */
DECLARE_FAKE_VALUE_FUNC(int, extpower_is_present);

/* Mocks for common/system.c */
DECLARE_FAKE_VOID_FUNC(system_hibernate, uint32_t, uint32_t);
DECLARE_FAKE_VALUE_FUNC(int, system_can_boot_ap);

#endif /* __TEST_AP_POWER_TEST_MOCKS_H */
```

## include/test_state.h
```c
/* Copyright 2022 The ChromiumOS Authors
 * Use of this source code is governed by a BSD-style license that can be
 * found in the LICENSE file.
 */

#ifndef ZEPHYR_TEST_AP_POWER_INCLUDE_TEST_STATE_H_
#define ZEPHYR_TEST_AP_POWER_INCLUDE_TEST_STATE_H_

#include <stdbool.h>

struct test_state {
	bool ec_app_main_run;
};

bool ap_power_predicate_pre_main(const void *state);

bool ap_power_predicate_post_main(const void *state);

#endif /* ZEPHYR_TEST_AP_POWER_INCLUDE_TEST_STATE_H_ */
```

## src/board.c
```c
/* Copyright 2022 The ChromiumOS Authors
 * Use of this source code is governed by a BSD-style license that can be
 * found in the LICENSE file.
 */

#include <zephyr/kernel.h>
#include <zephyr/ztest.h>

#include <ap_power/ap_power_interface.h>
#include <ap_power_override_functions.h>
#include <power_signals.h>
#include <timer.h>
#include <x86_power_signals.h>

static bool signal_PWR_ALL_SYS_PWRGD;
static bool signal_PWR_DSW_PWROK;
static bool signal_PWR_PG_PP1P05;

int board_power_signal_set(enum power_signal signal, int value)
{
	switch (signal) {
	default:
		zassert_unreachable("Unknown signal");
		return -1;

	case PWR_ALL_SYS_PWRGD:
		signal_PWR_ALL_SYS_PWRGD = value;
		return 0;

	case PWR_DSW_PWROK:
		signal_PWR_DSW_PWROK = value;
		return 0;

	case PWR_PG_PP1P05:
		signal_PWR_PG_PP1P05 = value;
		return 0;
	}
}

int board_power_signal_get(enum power_signal signal)
{
	switch (signal) {
	default:
		zassert_unreachable("Unknown signal");
		return -1;

	case PWR_ALL_SYS_PWRGD:
		return signal_PWR_ALL_SYS_PWRGD;

	case PWR_DSW_PWROK:
		return signal_PWR_DSW_PWROK;

	case PWR_PG_PP1P05:
		return signal_PWR_PG_PP1P05;
	}
}

void board_ap_power_force_shutdown(void)
{
}

int board_ap_power_assert_pch_power_ok(void)
{
	power_signal_set(PWR_PCH_PWROK, 1);
	return 0;
}

static void generate_ec_soc_dsw_pwrok_handler(void)
{
	int in_sig_val = power_signal_get(PWR_DSW_PWROK);

	if (in_sig_val != power_signal_get(PWR_EC_SOC_DSW_PWROK)) {
		power_signal_set(PWR_EC_SOC_DSW_PWROK, 1);
	}
}

void board_ap_power_action_g3_s5(void)
{
	power_signal_enable(PWR_DSW_PWROK);

	power_signal_set(PWR_EN_PP3300_A, 1);
	power_signal_set(PWR_EN_PP5000_A, 1);

	power_wait_signals_timeout(IN_PGOOD_ALL_CORE, 100 * MSEC);

	generate_ec_soc_dsw_pwrok_handler();
}

void board_ap_power_action_s3_s0(void)
{
}

void board_ap_power_action_s0_s3(void)
{
}

void board_ap_power_action_s0(void)
{
}

bool board_ap_power_check_power_rails_enabled(void)
{
	return true;
}
```

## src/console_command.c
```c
/* Copyright 2022 The ChromiumOS Authors
 * Use of this source code is governed by a BSD-style license that can be
 * found in the LICENSE file.
 */

#include "console.h"
#include "ec_commands.h"
#include "test_state.h"

#include <zephyr/shell/shell.h>
#include <zephyr/ztest.h>

ZTEST_USER(console_cmd_debug_mode, test_debug_mode_default)
{
	zassert_ok(shell_execute_cmd(get_ec_shell(), "debug_mode"),
		   "failed to get debug_mode");
}

ZTEST_USER(console_cmd_debug_mode, test_debug_mode_disabled)
{
	zassert_ok(shell_execute_cmd(get_ec_shell(), "debug_mode disable"),
		   "failed to disable debug_mode");
}

ZTEST_USER(console_cmd_debug_mode, test_debug_mode_enabled)
{
	zassert_ok(shell_execute_cmd(get_ec_shell(), "debug_mode enable"),
		   "failed to enable debug_mode");
}

ZTEST_SUITE(console_cmd_debug_mode, ap_power_predicate_post_main, NULL, NULL,
	    NULL, NULL);
```

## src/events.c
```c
/* Copyright 2022 The ChromiumOS Authors
 * Use of this source code is governed by a BSD-style license that can be
 * found in the LICENSE file.
 */

/**
 * @file
 * @brief Unit Tests for AP power events
 */

#include "ap_power/ap_power.h"
#include "ap_power/ap_power_events.h"
#include "hooks.h"
#include "test_state.h"

#include <zephyr/device.h>
#include <zephyr/drivers/espi.h>
#include <zephyr/drivers/espi_emul.h>
#include <zephyr/kernel.h>
#include <zephyr/logging/log.h>
#include <zephyr/ztest.h>

/*
 * Structure passed to event listeners.
 */
struct events {
	struct ap_power_ev_callback cb;
	enum ap_power_events event;
	int count;
};

/*
 * Common handler.
 * Increment count, and store event received.
 */
static void ev_handler(struct ap_power_ev_callback *callback,
		       struct ap_power_ev_data data)
{
	struct events *ev = CONTAINER_OF(callback, struct events, cb);

	ev->count++;
	ev->event = data.event;
}

/**
 * @brief TestPurpose: Check registration
 *
 * @details
 * Validate that listeners can be registered, even multiple times
 *
 * Expected Results
 *  - Multiple registrations do not result in multiple calls.
 */
ZTEST(events, test_registration)
{
	static struct events cb;

	ap_power_ev_init_callback(&cb.cb, ev_handler, AP_POWER_RESET);
	ap_power_ev_add_callback(&cb.cb);
	ap_power_ev_send_callbacks(AP_POWER_RESET);
	zassert_equal(1, cb.count, "Callback not called");
	zassert_equal(AP_POWER_RESET, cb.event, "Wrong event");
	ap_power_ev_send_callbacks(AP_POWER_SUSPEND);
	zassert_equal(1, cb.count, "Callback called");

	ap_power_ev_remove_callback(&cb.cb);
	ap_power_ev_send_callbacks(AP_POWER_RESET);
	zassert_equal(1, cb.count, "Callback called");
	cb.count = 0; /* Reset to make it clear */
	cb.event = 0;
	/* Add it twice */
	ap_power_ev_add_callback(&cb.cb);
	ap_power_ev_add_callback(&cb.cb);
	ap_power_ev_send_callbacks(AP_POWER_RESET);
	zassert_equal(1, cb.count, "Callback not called");
	zassert_equal(AP_POWER_RESET, cb.event, "Wrong event");
	ap_power_ev_remove_callback(&cb.cb);
	/* Second remove should be no-op */
	ap_power_ev_remove_callback(&cb.cb);
}

/**
 * @brief TestPurpose: Verify reset callback from ESPI
 *
 * @details
 * Validate that the reset callback is sent with ESPI PLTRST#
 *
 * Expected Results
 *  - The AP_POWER_RESET event is sent
 */
ZTEST(events, test_pltrst)
{
	static struct events cb;
	const struct device *espi =
		DEVICE_DT_GET_ANY(zephyr_espi_emul_controller);

	zassert_not_null(espi, "Cannot get ESPI device");

	ap_power_ev_init_callback(&cb.cb, ev_handler, AP_POWER_RESET);
	ap_power_ev_add_callback(&cb.cb);

	emul_espi_host_send_vw(espi, ESPI_VWIRE_SIGNAL_PLTRST, 0);
	/*
	 * Since the event is being sent via a deferred function,
	 * wait for the deferral time.
	 */
	k_usleep(2 * 1000);
	zassert_equal(1, cb.count, "Callback not called");
	zassert_equal(AP_POWER_RESET, cb.event, "Wrong event");
}

/**
 * @brief TestPurpose: Check event mask changes
 *
 * @details
 * Validate that listeners adjust the event mask.
 *
 * Expected Results
 *  - Event mask changes are honoured
 */
ZTEST(events, test_event_mask)
{
	static struct events cb;

	ap_power_ev_init_callback(&cb.cb, ev_handler, 0);
	ap_power_ev_add_callback(&cb.cb);
	ap_power_ev_send_callbacks(AP_POWER_RESET);
	zassert_equal(0, cb.count, "Callback called");
	ap_power_ev_init_callback(&cb.cb, ev_handler, AP_POWER_RESET);

	ap_power_ev_send_callbacks(AP_POWER_RESET);
	zassert_equal(1, cb.count, "Callback not called");
	ap_power_ev_send_callbacks(AP_POWER_SUSPEND);
	zassert_equal(1, cb.count, "Callback called");

	/* Add interest in event */
	cb.count = 0;
	ap_power_ev_add_events(&cb.cb, AP_POWER_SUSPEND);
	ap_power_ev_send_callbacks(AP_POWER_RESET);
	zassert_equal(1, cb.count, "Callback not called");
	zassert_equal(AP_POWER_RESET, cb.event, "Wrong event");
	ap_power_ev_send_callbacks(AP_POWER_SUSPEND);
	zassert_equal(2, cb.count, "Callback not called");
	zassert_equal(AP_POWER_SUSPEND, cb.event, "Wrong event");

	ap_power_ev_remove_callback(&cb.cb);
}

static int count_hook_shutdown, count_hook_startup;

static void hook_shutdown(void)
{
	count_hook_shutdown++;
}
DECLARE_HOOK(HOOK_CHIPSET_SHUTDOWN, hook_shutdown, HOOK_PRIO_DEFAULT);

static void hook_startup(void)
{
	count_hook_startup++;
}
DECLARE_HOOK(HOOK_CHIPSET_STARTUP, hook_startup, HOOK_PRIO_DEFAULT);

/**
 * @brief TestPurpose: Verify correct interconnection with hook framework.
 *
 * @details
 * Validate that events get passed back to the hook subsystem.
 *
 * Expected Results
 *  - Events originating from the AP power event API get delivered via hooks.
 */
ZTEST(events, test_hooks)
{
	count_hook_startup = count_hook_shutdown = 0;
	ap_power_ev_send_callbacks(AP_POWER_STARTUP);
	zassert_equal(0, count_hook_shutdown, "shutdown hook called");
	zassert_equal(1, count_hook_startup, "startup hook not called");
	zassert_equal(0, count_hook_shutdown,
		      "reset event, shutdown hook called");
	zassert_equal(1, count_hook_startup,
		      "reset event, startup hook called");
	ap_power_ev_send_callbacks(AP_POWER_SHUTDOWN);
	zassert_equal(1, count_hook_shutdown, "shutdown hook not called");
	zassert_equal(1, count_hook_startup, "startup hook called");
}

/**
 * @brief Test Suite: Verifies AP power notification functionality.
 */
ZTEST_SUITE(events, ap_power_predicate_post_main, NULL, NULL, NULL, NULL);
```

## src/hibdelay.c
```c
/* Copyright 2022 The ChromiumOS Authors
 * Use of this source code is governed by a BSD-style license that can be
 * found in the LICENSE file.
 */

#include "console.h"
#include "ec_commands.h"
#include "test_state.h"

#include <zephyr/shell/shell.h>
#include <zephyr/ztest.h>

ZTEST_SUITE(console_cmd_hibdelay, ap_power_predicate_post_main, NULL, NULL,
	    NULL, NULL);

ZTEST_USER(console_cmd_hibdelay, test_too_many_args)
{
	zassert_ok(shell_execute_cmd(get_ec_shell(), "hibdelay 1 2"), NULL);
}

ZTEST_USER(console_cmd_hibdelay, test_no_args)
{
	zassert_ok(shell_execute_cmd(get_ec_shell(), "hibdelay"), NULL);
}

ZTEST_USER(console_cmd_hibdelay, test_invalid_arg)
{
	int rv = shell_execute_cmd(get_ec_shell(), "hibdelay 3.4");

	zassert_equal(rv, EC_ERROR_PARAM1, "Expected %d, but got %d",
		      EC_ERROR_PARAM1, rv);
}

ZTEST_USER(console_cmd_hibdelay, test_valid_args)
{
	zassert_ok(shell_execute_cmd(get_ec_shell(), "hibdelay 5"), NULL);
}
```

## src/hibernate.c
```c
/* Copyright 2022 The ChromiumOS Authors
 * Use of this source code is governed by a BSD-style license that can be
 * found in the LICENSE file.
 */

#include "hooks.h"
#include "test_mocks.h"
#include "test_state.h"

#include <zephyr/device.h>
#include <zephyr/kernel.h>
#include <zephyr/logging/log.h>
#include <zephyr/ztest.h>

#include <ap_power/ap_power.h>
#include <ap_power/ap_power_events.h>
#include <ap_power/ap_power_interface.h>

ZTEST(hibernate, test_g3_hibernate)
{
	extpower_is_present_fake.return_val = 0;
	ap_power_ev_send_callbacks(AP_POWER_HARD_OFF);
	k_sleep(K_SECONDS(30));
	zassert_equal(1, system_hibernate_fake.call_count);
}

ZTEST(hibernate, test_ac_changed)
{
	extpower_is_present_fake.return_val = 1;
	hook_notify(HOOK_AC_CHANGE);
	k_sleep(K_SECONDS(30));
	zassert_equal(0, system_hibernate_fake.call_count);
	extpower_is_present_fake.return_val = 0;
	hook_notify(HOOK_AC_CHANGE);
	k_sleep(K_SECONDS(30));
	zassert_equal(1, system_hibernate_fake.call_count);
}

ZTEST_SUITE(hibernate, ap_power_predicate_post_main, NULL, NULL, NULL, NULL);
```

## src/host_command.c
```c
/* Copyright 2022 The ChromiumOS Authors
 * Use of this source code is governed by a BSD-style license that can be
 * found in the LICENSE file.
 */

#include "ec_commands.h"
#include "host_command.h"
#include "test_state.h"

#include <zephyr/drivers/emul_stub_device.h>
#include <zephyr/ztest.h>

ZTEST(host_cmd, test_hibernate_get)
{
	struct ec_response_hibernation_delay response;
	struct ec_params_hibernation_delay params = {
		.seconds = 0,
	};

	zassert_ok(ec_cmd_hibernation_delay(NULL, &params, &response));
	params.seconds = 123;
	zassert_ok(ec_cmd_hibernation_delay(NULL, &params, &response));
	zassert_equal(123, response.hibernate_delay, NULL);
}

ZTEST_SUITE(host_cmd, ap_power_predicate_post_main, NULL, NULL, NULL, NULL);

/* These 2 lines are needed because we don't define an espi host driver */
#define DT_DRV_COMPAT zephyr_espi_emul_espi_host
DT_INST_FOREACH_STATUS_OKAY(EMUL_STUB_DEVICE);
```

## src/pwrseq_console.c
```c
/* Copyright 2023 The ChromiumOS Authors
 * Use of this source code is governed by a BSD-style license that can be
 * found in the LICENSE file.
 */

#include "console.h"
#include "test_state.h"

#include <zephyr/shell/shell.h>
#include <zephyr/ztest.h>

ZTEST(console_cmd_pwrseq, test_cmd_apreset)
{
	zassert_ok(shell_execute_cmd(get_ec_shell(), "apreset"),
		   "apreset console command failed");
}

ZTEST(console_cmd_pwrseq, test_cmd_apshutdown)
{
	zassert_ok(shell_execute_cmd(get_ec_shell(), "apshutdown"),
		   "apshutdown console command failed");
}

ZTEST_SUITE(console_cmd_pwrseq, ap_power_predicate_post_main, NULL, NULL, NULL,
	    NULL);
```

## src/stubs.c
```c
/* Copyright 2022 The Chromium OS Authors. All rights reserved.
 * Use of this source code is governed by a BSD-style license that can be
 * found in the LICENSE file.
 */

#include "chipset.h"

/*
 * There are some collisions between the old chipset API and
 * the new API.
 */
void chipset_force_shutdown(enum chipset_shutdown_reason reason)
{
}
```
